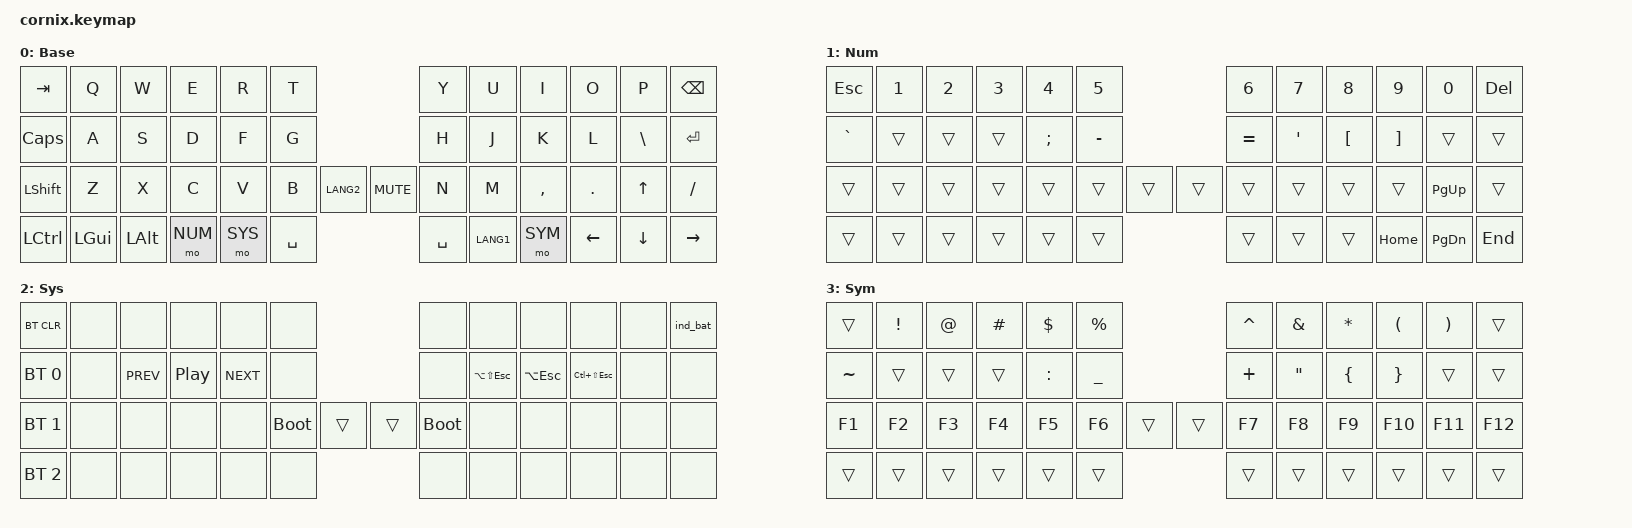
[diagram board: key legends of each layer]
/*
 * Cornix — 키캡 인쇄(공장 출하 키맵) 기준 + QWERTY식 보완
 * 원본: 공식 매뉴얼 첨부 cornix-default-keymap.vil
 *       (sha256 f85dd13d58398ea53e29f3fbab88d07b1f86ba09982e7eaac5d36eb314a327ab)
 *
 * 레이어
 *   0 Base : 키캡 인쇄 그대로. 오른쪽 엄지 가운데 = 한/영, 바깥 = Sym
 *   1 Num  : 왼쪽 엄지 바깥. 숫자·; - = ' [ ] `, 방향키 자리에 PgUp/PgDn/Home/End
 *   2 Sys  : 왼쪽 엄지 가운데. S·D·F 미디어, J·K·L 창 관리, BT1~3(인쇄 자리), BT 삭제, 부트로더, 배터리 표시(Bksp 자리)
 *   3 Sym  : 오른쪽 엄지 바깥. Num의 Shift 판 + 셋째 줄 F1~F12
 *
 * 노브 (모든 레이어 공통)
 *   왼쪽  : 돌리기 = 밝기 +/-, 누르기 = 한자
 *   오른쪽: 돌리기 = 볼륨 +/-, 누르기 = 음소거
 *   밝기 키는 노트북 내장 화면용 (외장 모니터는 DDC/CI 도구가 따로 필요)
 *
 * 키 위치 번호 (cornix-layouts.dtsi 기준, 50개)
 *   0  1  2  3  4  5          6  7  8  9 10 11
 *  12 13 14 15 16 17         18 19 20 21 22 23
 *  24 25 26 27 28 29 (30)(31) 32 33 34 35 36 37
 *  38 39 40  41 42 43       44 45 46  47 48 49
 *  30, 31 = 왼쪽/오른쪽 노브 누르기
 */

#include <behaviors.dtsi>
#include <dt-bindings/zmk/bt.h>
#include <dt-bindings/zmk/keys.h>
#include <behaviors/rgbled_widget.dtsi>

#define BASE 0
#define NUM  1
#define SYS  2
#define SYM  3

#define KNOBS <&inc_dec_kp C_BRI_UP C_BRI_DN &inc_dec_kp C_VOL_UP C_VOL_DN>

/ {
    keymap {
        compatible = "zmk,keymap";

        base {
            display-name = "Base";
            bindings = <
&kp TAB    &kp Q     &kp W     &kp E    &kp R     &kp T                                    &kp Y      &kp U     &kp I      &kp O     &kp P      &kp BSPC
&kp CAPS   &kp A     &kp S     &kp D    &kp F     &kp G                                    &kp H      &kp J     &kp K      &kp L     &kp BSLH   &kp RET
&kp LSHFT  &kp Z     &kp X     &kp C    &kp V     &kp B       &kp LANG2      &kp C_MUTE   &kp N      &kp M     &kp COMMA  &kp DOT   &kp UP     &kp FSLH
&kp LCTRL  &kp LGUI  &kp LALT  &mo NUM  &mo SYS   &kp SPACE                                &kp SPACE  &kp LANG1 &mo SYM    &kp LEFT  &kp DOWN   &kp RIGHT
            >;
            sensor-bindings = KNOBS;
        };

        /* 빈자리는 전부 통과(&trans): 엄지를 늦게 떼도 다음 글자·Enter·Space가 그대로 입력됨 */
        num {
            display-name = "Num";
            bindings = <
&kp ESC    &kp N1  &kp N2  &kp N3  &kp N4    &kp N5                         &kp N6     &kp N7   &kp N8    &kp N9    &kp N0     &kp DEL
&kp GRAVE  &trans  &trans  &trans  &kp SEMI  &kp MINUS                      &kp EQUAL  &kp SQT  &kp LBKT  &kp RBKT  &trans     &trans
&trans     &trans  &trans  &trans  &trans    &trans     &trans  &trans      &trans     &trans   &trans    &trans    &kp PG_UP  &trans
&trans     &trans  &trans  &trans  &trans    &trans                         &trans     &trans   &trans    &kp HOME  &kp PG_DN  &kp END
            >;
            sensor-bindings = KNOBS;
        };

        /* 홈 줄 좌우 대칭: 왼손 S·D·F = 이전 곡·재생/정지·다음 곡, 오른손 J·K·L = 이전 창·다음 창·작업 관리자
         * 두 줄 모두 왼쪽 = 이전, 오른쪽 = 다음
         * BT 삭제는 Esc 자리(왼쪽 위), BT1~3은 그 아래 인쇄 자리
 * 배터리 표시는 Bksp 자리(오른쪽 위): 어느 쪽에서 눌러도 양쪽이 각자 잔량을 색으로 보여줌
         * 부트로더는 눌린 쪽 반쪽에서만 실행되므로(locality = event source) B·N에 하나씩
         *   굽는 순서: Sys + N(오른쪽) 먼저, 그다음 Sys + B(왼쪽) — Sys 레이어 판단을 왼쪽(중앙)이 하기 때문
         * 명령 레이어라 빈자리는 통과시키지 않음(&none): 창을 넘긴 직후 잘못 누른 키가 새 창에 입력되지 않게 */
        sys {
            display-name = "Sys";
            bindings = <
&bt BT_CLR     &none  &none       &none     &none       &none                         &none        &none            &none        &none            &none  &ind_bat
&bt BT_SEL 0   &none  &kp C_PREV  &kp C_PP  &kp C_NEXT  &none                         &none        &kp LA(LS(ESC))  &kp LA(ESC)  &kp LC(LS(ESC))  &none  &none
&bt BT_SEL 1   &none  &none       &none     &none       &bootloader  &trans  &trans   &bootloader  &none            &none        &none            &none  &none
&bt BT_SEL 2   &none  &none       &none     &none       &none                         &none        &none            &none        &none            &none  &none
            >;
            sensor-bindings = KNOBS;
        };

        /* 위 두 줄 = Num 레이어 같은 자리의 Shift 판, 셋째 줄 = Shift 자리부터 F1~F12 */
        sym {
            display-name = "Sym";
            bindings = <
&trans     &kp EXCL  &kp AT  &kp HASH  &kp DLLR   &kp PRCNT                       &kp CARET  &kp AMPS  &kp STAR  &kp LPAR  &kp RPAR  &trans
&kp TILDE  &trans    &trans  &trans    &kp COLON  &kp UNDER                       &kp PLUS   &kp DQT   &kp LBRC  &kp RBRC  &trans    &trans
&kp F1     &kp F2    &kp F3  &kp F4    &kp F5     &kp F6     &trans  &trans       &kp F7     &kp F8    &kp F9    &kp F10   &kp F11   &kp F12
&trans     &trans    &trans  &trans    &trans     &trans                          &trans     &trans    &trans    &trans    &trans    &trans
            >;
            sensor-bindings = KNOBS;
        };
    };
};
